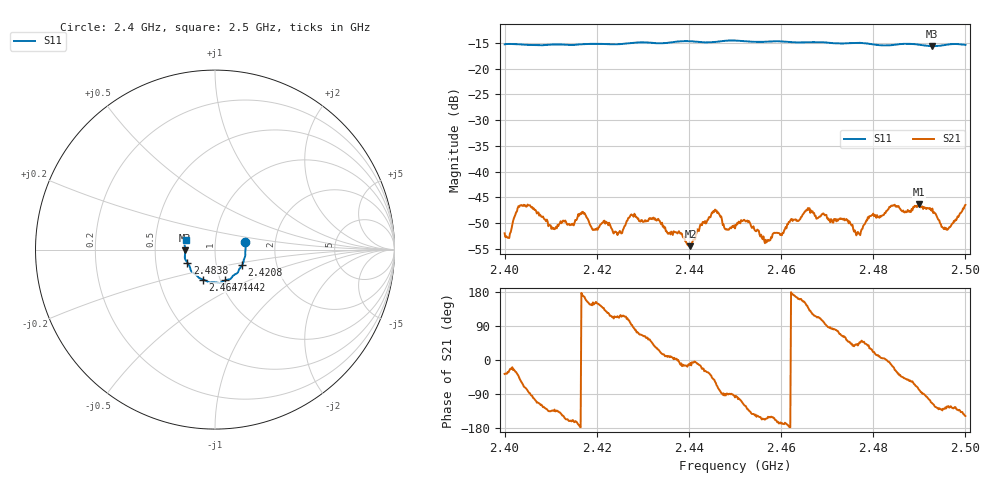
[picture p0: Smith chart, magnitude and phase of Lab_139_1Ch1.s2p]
# Hz S RI R 50
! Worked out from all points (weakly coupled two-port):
!   601 points, 2.4 GHz to 2.5 GHz, reference 50 ohm
!   highest |S21| = -46.28 dB at 2.49 GHz (marker M1); lowest = -54.5 dB at 2.4403 GHz (marker M2)
!   lowest |S11| = -15.6 dB at 2.4928 GHz (marker M3), VSWR 1.40, Z = 35.8 - j0.363 ohm
!   |S11| at or under -10 dB: start of sweep to end of sweep
!   S12 and S22 are empty: the file has one direction only
!   S11 on the Smith chart (normalised r, x): 2.4 GHz: 1.40, +0.12; 2.4208 GHz: 1.33, -0.24; 2.4442 GHz: 1.05, -0.37; 2.4647 GHz: 0.83, -0.29; 2.4838 GHz: 0.73, -0.11; 2.5 GHz: 0.72, +0.08
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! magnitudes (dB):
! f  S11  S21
! 2.4 GHz  -15.2  -52.0
! 2.4035 GHz  -15.3  -46.5
! 2.4107 GHz  -15.3  -51.0
! 2.4167 GHz  -15.2  -48.2
! 2.4208 GHz  -15.2  -50.3
! 2.4333 GHz  -15.0  -49.2
! 2.4403 GHz  -14.7  -54.5
! 2.4442 GHz  -14.9  -49.3
! 2.4458 GHz  -14.8  -47.6
! 2.4482 GHz  -14.5  -51.2
! 2.45 GHz  -14.5  -51.0
! 2.4527 GHz  -14.7  -49.5
! 2.457 GHz  -14.7  -53.5
! 2.4647 GHz  -14.9  -48.4
! 2.4667 GHz  -14.8  -47.9
! 2.4767 GHz  -15.0  -51.7
! 2.4833 GHz  -15.5  -47.3
! 2.4838 GHz  -15.4  -46.7
! 2.49 GHz  -15.3  -46.3
! 2.4928 GHz  -15.6  -47.2
! 2.4958 GHz  -15.3  -51.0
! 2.5 GHz  -15.4  -46.5
